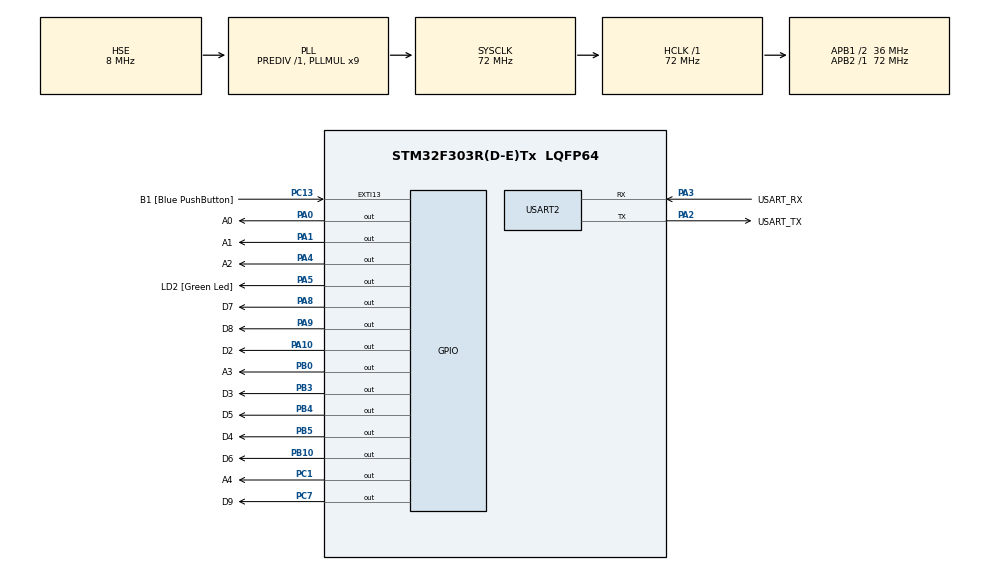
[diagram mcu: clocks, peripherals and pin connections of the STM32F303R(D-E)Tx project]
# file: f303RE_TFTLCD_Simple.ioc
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Mcu.Family=STM32F3
Mcu.Name=STM32F303R(D-E)Tx
Mcu.Package=LQFP64
NVIC.PriorityGroup=NVIC_PRIORITYGROUP_0
PA0.GPIO_Label=A0
PA0.PinState=GPIO_PIN_SET
PA0.Signal=GPIO_Output
PA1.GPIO_Label=A1
PA1.PinState=GPIO_PIN_SET
PA1.Signal=GPIO_Output
PA10.GPIO_Label=D2
PA10.PinState=GPIO_PIN_SET
PA10.Signal=GPIO_Output
PA13.GPIO_Label=TMS
PA13.Mode=Serial_Wire
PA13.Signal=SYS_JTMS-SWDIO
PA14.GPIO_Label=TCK
PA14.Mode=Serial_Wire
PA14.Signal=SYS_JTCK-SWCLK
PA2.GPIO_Label=USART_TX
PA2.GPIO_Mode=GPIO_MODE_AF_PP
PA2.GPIO_PuPd=GPIO_NOPULL
PA2.GPIO_Speed=GPIO_SPEED_FREQ_LOW
PA2.Mode=Asynchronous
PA2.Signal=USART2_TX
PA3.GPIO_Label=USART_RX
PA3.GPIO_Mode=GPIO_MODE_AF_PP
PA3.GPIO_PuPd=GPIO_NOPULL
PA3.GPIO_Speed=GPIO_SPEED_FREQ_LOW
PA3.Mode=Asynchronous
PA3.Signal=USART2_RX
PA4.GPIO_Label=A2
PA4.PinState=GPIO_PIN_SET
PA4.Signal=GPIO_Output
PA5.GPIO_Label=LD2 [Green Led]
PA5.GPIO_Mode=GPIO_MODE_OUTPUT_PP
PA5.GPIO_PuPd=GPIO_NOPULL
PA5.GPIO_Speed=GPIO_SPEED_FREQ_LOW
PA5.Signal=GPIO_Output
PA8.GPIO_Label=D7
PA8.PinState=GPIO_PIN_SET
PA8.Signal=GPIO_Output
PA9.GPIO_Label=D8
PA9.PinState=GPIO_PIN_SET
PA9.Signal=GPIO_Output
PB0.GPIO_Label=A3
PB0.PinState=GPIO_PIN_SET
PB0.Signal=GPIO_Output
PB10.GPIO_Label=D6
PB10.PinState=GPIO_PIN_SET
PB10.Signal=GPIO_Output
PB3.GPIO_Label=D3
PB3.PinState=GPIO_PIN_SET
PB3.Signal=GPIO_Output
PB4.GPIO_Label=D5
PB4.PinState=GPIO_PIN_SET
PB4.Signal=GPIO_Output
PB5.GPIO_Label=D4
PB5.PinState=GPIO_PIN_SET
PB5.Signal=GPIO_Output
PC1.GPIO_Label=A4
PC1.PinState=GPIO_PIN_SET
PC1.Signal=GPIO_Output
PC13.GPIO_Label=B1 [Blue PushButton]
PC13.GPIO_ModeDefaultEXTI=GPIO_MODE_EVT_RISING
PC13.Signal=GPXTI13
PC14-OSC32_IN.Mode=LSE-External-Oscillator
PC14-OSC32_IN.Signal=RCC_OSC32_IN
PC15-OSC32_OUT.Mode=LSE-External-Oscillator
PC15-OSC32_OUT.Signal=RCC_OSC32_OUT
PC7.GPIO_Label=D9
PC7.PinState=GPIO_PIN_SET
PC7.Signal=GPIO_Output
PF0-OSC_IN.Mode=HSE-External-Clock-Source
PF0-OSC_IN.Signal=RCC_OSC_IN
ProjectManager.HeapSize=0x200
ProjectManager.StackSize=0x400
ProjectManager.TargetToolchain=SW4STM32
RCC.AHBFreq_Value=72000000
RCC.APB1CLKDivider=RCC_HCLK_DIV2
RCC.APB1Freq_Value=36000000
RCC.APB1TimFreq_Value=72000000
RCC.APB2Freq_Value=72000000
RCC.APB2TimFreq_Value=72000000
RCC.CortexFreq_Value=72000000
RCC.HCLKFreq_Value=72000000
RCC.HSE_VALUE=8000000
RCC.HSIState=RCC_HSI_ON
RCC.HSI_VALUE=8000000
RCC.PLLM=8
RCC.PLLMUL=RCC_PLL_MUL9
RCC.PLLN=336
RCC.PLLP=RCC_PLLP_DIV4
RCC.PLLQ=7
RCC.PLLSourceVirtual=RCC_PLLSOURCE_HSE
RCC.RCC_PLLsource_Clock_Source_FROM_HSE=RCC_HSE_PREDIV_DIV2
RCC.SYSCLKFreq_VALUE=72000000
RCC.SYSCLKSourceVirtual=RCC_SYSCLKSOURCE_PLLCLK
RCC.USBFreq_Value=72000000
USART2.WordLength=UART_WORDLENGTH_8B
board=NUCLEO-F303RE

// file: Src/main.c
/**
  ******************************************************************************
  * File Name          : main.c
  * Description        : Main program body
  ******************************************************************************
  *
  * COPYRIGHT(c) 2016 STMicroelectronics
  *
  * Redistribution and use in source and binary forms, with or without modification,
  * are permitted provided that the following conditions are met:
  *   1. Redistributions of source code must retain the above copyright notice,
  *      this list of conditions and the following disclaimer.
  *   2. Redistributions in binary form must reproduce the above copyright notice,
  *      this list of conditions and the following disclaimer in the documentation
  *      and/or other materials provided with the distribution.
  *   3. Neither the name of STMicroelectronics nor the names of its contributors
  *      may be used to endorse or promote products derived from this software
  *      without specific prior written permission.
  *
  * THIS SOFTWARE IS PROVIDED BY THE COPYRIGHT HOLDERS AND CONTRIBUTORS "AS IS"
  * AND ANY EXPRESS OR IMPLIED WARRANTIES, INCLUDING, BUT NOT LIMITED TO, THE
  * IMPLIED WARRANTIES OF MERCHANTABILITY AND FITNESS FOR A PARTICULAR PURPOSE ARE
  * DISCLAIMED. IN NO EVENT SHALL THE COPYRIGHT HOLDER OR CONTRIBUTORS BE LIABLE
  * FOR ANY DIRECT, INDIRECT, INCIDENTAL, SPECIAL, EXEMPLARY, OR CONSEQUENTIAL
  * DAMAGES (INCLUDING, BUT NOT LIMITED TO, PROCUREMENT OF SUBSTITUTE GOODS OR
  * SERVICES; LOSS OF USE, DATA, OR PROFITS; OR BUSINESS INTERRUPTION) HOWEVER
  * CAUSED AND ON ANY THEORY OF LIABILITY, WHETHER IN CONTRACT, STRICT LIABILITY,
  * OR TORT (INCLUDING NEGLIGENCE OR OTHERWISE) ARISING IN ANY WAY OUT OF THE USE
  * OF THIS SOFTWARE, EVEN IF ADVISED OF THE POSSIBILITY OF SUCH DAMAGE.
  *
  ******************************************************************************
  */
#include "main.h"
#include "stm32f3xx_hal.h"
#include <stdio.h>
#include <errno.h>

/* USER CODE BEGIN Includes */
#include "lcd.h"

/* USER CODE END Includes */

UART_HandleTypeDef huart2;

/* USER CODE BEGIN PV */
/* Private variables ---------------------------------------------------------*/

/* USER CODE END PV */

void SystemClock_Config(void);
void Error_Handler(void);
static void MX_GPIO_Init(void);
static void MX_USART2_UART_Init(void);

/* USER CODE BEGIN PFP */
/* Private function prototypes -----------------------------------------------*/

/* USER CODE END PFP */

/* USER CODE BEGIN 0 */
void _init(void)
{
}

caddr_t _sbrk_r (struct _reent *r, int incr)
{
  register char* stack_ptr asm ("sp");
  extern char    end asm ("end"); /* Defined by the linker.  */
  static char*   heap_end;
  char*          prev_heap_end;

  if (heap_end == NULL)
    heap_end = & end;

  prev_heap_end = heap_end;

  if (heap_end + incr > stack_ptr)
  {
      errno = ENOMEM;
      return (caddr_t) -1;
  }

  heap_end += incr;

  return (caddr_t) prev_heap_end;
}

/* USER CODE END 0 */

int main(void)
{

  /* MCU Configuration----------------------------------------------------------*/

  /* Reset of all peripherals, Initializes the Flash interface and the Systick. */
  HAL_Init();

  /* Configure the system clock */
  SystemClock_Config();

  /* Initialize all configured peripherals */
  MX_GPIO_Init();
  MX_USART2_UART_Init();

  /* USER CODE BEGIN 2 */
  Lcd_Init();
  fillScreen(0x0000);
  /* USER CODE END 2 */

  /* Infinite loop */
  /* USER CODE BEGIN WHILE */
  uint8_t rot = 0;

  while (1)
  {
    char buf[16];

    fillScreen(BLACK);
    setRotation(rot);
    rot = (rot+1) & 0x03;

    setCursor(0, 0);

    setTextColor(WHITE, WHITE);
    setTextSize(1);
    writeString("Hello World!\r\n");

    setTextColor(YELLOW, YELLOW);
    setTextSize(2);
    sprintf(buf, "%g\r\n", 1234.56);
    writeString(buf);

    setTextColor(RED, YELLOW);
    setTextSize(3);
    sprintf(buf, "%lX\r\n", 0xDEADBEEF);
    writeString(buf);

    setTextColor(GREEN, GREEN);
    setTextSize(5);
    writeString("Groop\r\n");
    setTextSize(2);
    writeString("\r\n");
    setTextColor(BLUE, BLUE);
    writeString("I implore thee,\r\n");
    setTextSize(1);
    writeString("my foonting turlingdromes.\r\n");
    writeString("And hooptiously drangle me\r\n");
    writeString("with crinkly bindlewurdles,\r\n");
    writeString("Or I will rend thee\r\n");
    writeString("in the gobberwarts\r\n");
    writeString("with my blurglecruncheon,\r\n");
    writeString("see if I don't!\r\n");

  /* USER CODE END WHILE */

  /* USER CODE BEGIN 3 */
    HAL_Delay(3000);

  }
  /* USER CODE END 3 */

}

/** System Clock Configuration
*/
void SystemClock_Config(void)
{

  RCC_OscInitTypeDef RCC_OscInitStruct;
  RCC_ClkInitTypeDef RCC_ClkInitStruct;
  RCC_PeriphCLKInitTypeDef PeriphClkInit;

    /**Initializes the CPU, AHB and APB busses clocks
    */
  RCC_OscInitStruct.OscillatorType = RCC_OSCILLATORTYPE_HSE;
  RCC_OscInitStruct.HSEState = RCC_HSE_BYPASS;
  RCC_OscInitStruct.HSIState = RCC_HSI_ON;
  RCC_OscInitStruct.PLL.PLLState = RCC_PLL_ON;
  RCC_OscInitStruct.PLL.PLLSource = RCC_PLLSOURCE_HSE;
  RCC_OscInitStruct.PLL.PLLMUL = RCC_PLL_MUL9;
  RCC_OscInitStruct.PLL.PREDIV = RCC_PREDIV_DIV1;
  if (HAL_RCC_OscConfig(&RCC_OscInitStruct) != HAL_OK)
  {
    Error_Handler();
  }

    /**Initializes the CPU, AHB and APB busses clocks
    */
  RCC_ClkInitStruct.ClockType = RCC_CLOCKTYPE_HCLK|RCC_CLOCKTYPE_SYSCLK
                              |RCC_CLOCKTYPE_PCLK1|RCC_CLOCKTYPE_PCLK2;
  RCC_ClkInitStruct.SYSCLKSource = RCC_SYSCLKSOURCE_PLLCLK;
  RCC_ClkInitStruct.AHBCLKDivider = RCC_SYSCLK_DIV1;
  RCC_ClkInitStruct.APB1CLKDivider = RCC_HCLK_DIV2;
  RCC_ClkInitStruct.APB2CLKDivider = RCC_HCLK_DIV1;

  if (HAL_RCC_ClockConfig(&RCC_ClkInitStruct, FLASH_LATENCY_2) != HAL_OK)
  {
    Error_Handler();
  }

  PeriphClkInit.PeriphClockSelection = RCC_PERIPHCLK_USART2;
  PeriphClkInit.Usart2ClockSelection = RCC_USART2CLKSOURCE_PCLK1;
  if (HAL_RCCEx_PeriphCLKConfig(&PeriphClkInit) != HAL_OK)
  {
    Error_Handler();
  }

    /**Configure the Systick interrupt time
    */
  HAL_SYSTICK_Config(HAL_RCC_GetHCLKFreq()/1000);

    /**Configure the Systick
    */
  HAL_SYSTICK_CLKSourceConfig(SYSTICK_CLKSOURCE_HCLK);

  /* SysTick_IRQn interrupt configuration */
  HAL_NVIC_SetPriority(SysTick_IRQn, 0, 0);
}

/* USART2 init function */
static void MX_USART2_UART_Init(void)
{

  huart2.Instance = USART2;
  huart2.Init.BaudRate = 38400;
  huart2.Init.WordLength = UART_WORDLENGTH_8B;
  huart2.Init.StopBits = UART_STOPBITS_1;
  huart2.Init.Parity = UART_PARITY_NONE;
  huart2.Init.Mode = UART_MODE_TX_RX;
  huart2.Init.HwFlowCtl = UART_HWCONTROL_NONE;
  huart2.Init.OverSampling = UART_OVERSAMPLING_16;
  huart2.Init.OneBitSampling = UART_ONE_BIT_SAMPLE_DISABLE;
  huart2.AdvancedInit.AdvFeatureInit = UART_ADVFEATURE_NO_INIT;
  if (HAL_UART_Init(&huart2) != HAL_OK)
  {
    Error_Handler();
  }

}

/** Configure pins as
        * Analog
        * Input
        * Output
        * EVENT_OUT
        * EXTI
*/
static void MX_GPIO_Init(void)
{

  GPIO_InitTypeDef GPIO_InitStruct;

  /* GPIO Ports Clock Enable */
  __HAL_RCC_GPIOC_CLK_ENABLE();
  __HAL_RCC_GPIOF_CLK_ENABLE();
  __HAL_RCC_GPIOA_CLK_ENABLE();
  __HAL_RCC_GPIOB_CLK_ENABLE();

  /*Configure GPIO pin : B1_Pin */
  GPIO_InitStruct.Pin = B1_Pin;
  GPIO_InitStruct.Mode = GPIO_MODE_EVT_RISING;
  GPIO_InitStruct.Pull = GPIO_NOPULL;
  HAL_GPIO_Init(B1_GPIO_Port, &GPIO_InitStruct);

  /*Configure GPIO pins : A4_Pin D9_Pin */
  GPIO_InitStruct.Pin = A4_Pin|D9_Pin;
  GPIO_InitStruct.Mode = GPIO_MODE_OUTPUT_PP;
  GPIO_InitStruct.Pull = GPIO_NOPULL;
  GPIO_InitStruct.Speed = GPIO_SPEED_FREQ_LOW;
  HAL_GPIO_Init(GPIOC, &GPIO_InitStruct);

  /*Configure GPIO pins : A0_Pin A1_Pin A2_Pin LD2_Pin
                           D7_Pin D8_Pin D2_Pin */
  GPIO_InitStruct.Pin = A0_Pin|A1_Pin|A2_Pin|LD2_Pin
                          |D7_Pin|D8_Pin|D2_Pin;
  GPIO_InitStruct.Mode = GPIO_MODE_OUTPUT_PP;
  GPIO_InitStruct.Pull = GPIO_NOPULL;
  GPIO_InitStruct.Speed = GPIO_SPEED_FREQ_LOW;
  HAL_GPIO_Init(GPIOA, &GPIO_InitStruct);

  /*Configure GPIO pins : A3_Pin D6_Pin D3_Pin D5_Pin
                           D4_Pin */
  GPIO_InitStruct.Pin = A3_Pin|D6_Pin|D3_Pin|D5_Pin
                          |D4_Pin;
  GPIO_InitStruct.Mode = GPIO_MODE_OUTPUT_PP;
  GPIO_InitStruct.Pull = GPIO_NOPULL;
  GPIO_InitStruct.Speed = GPIO_SPEED_FREQ_LOW;
  HAL_GPIO_Init(GPIOB, &GPIO_InitStruct);

  /*Configure GPIO pin Output Level */
  HAL_GPIO_WritePin(GPIOC, A4_Pin|D9_Pin, GPIO_PIN_SET);

  /*Configure GPIO pin Output Level */
  HAL_GPIO_WritePin(GPIOA, A0_Pin|A1_Pin|A2_Pin|D7_Pin
                          |D8_Pin|D2_Pin, GPIO_PIN_SET);

  /*Configure GPIO pin Output Level */
  HAL_GPIO_WritePin(LD2_GPIO_Port, LD2_Pin, GPIO_PIN_RESET);

  /*Configure GPIO pin Output Level */
  HAL_GPIO_WritePin(GPIOB, A3_Pin|D6_Pin|D3_Pin|D5_Pin
                          |D4_Pin, GPIO_PIN_SET);

}

void Error_Handler(void)
{
  while(1)
  {
  }
}

/************************ (C) COPYRIGHT STMicroelectronics *****END OF FILE****/
